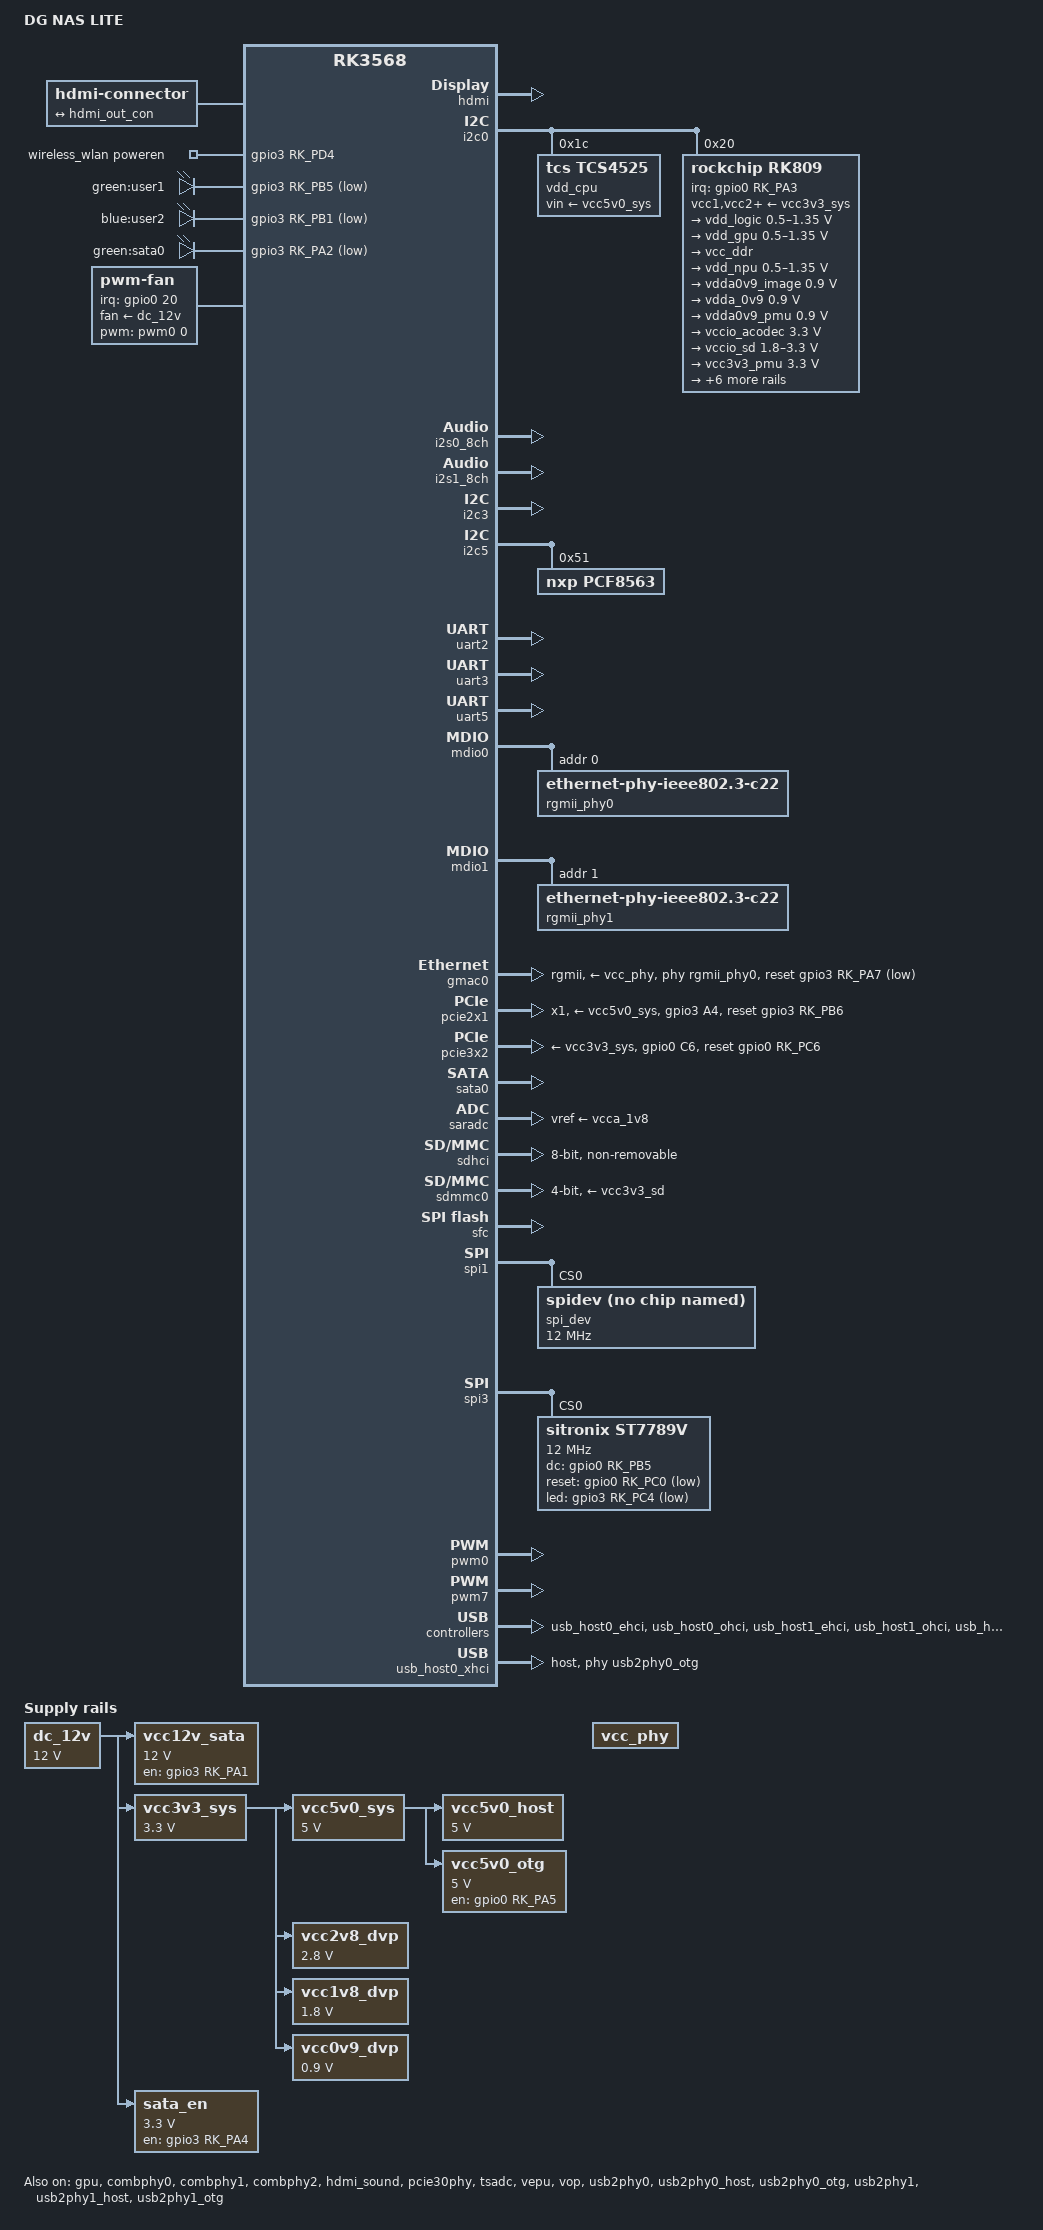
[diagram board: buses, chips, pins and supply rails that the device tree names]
// SPDX-License-Identifier: (GPL-2.0+ OR MIT)
/*
 * Copyright (c) 2020 Rockchip Electronics Co., Ltd.
 *
 */

/dts-v1/;

#include <dt-bindings/gpio/gpio.h>
#include <dt-bindings/leds/common.h>
#include <dt-bindings/pwm/pwm.h>
#include <dt-bindings/input/input.h>
#include <dt-bindings/pinctrl/rockchip.h>
#include <dt-bindings/soc/rockchip,vop2.h>
#include "rk3568.dtsi"

/ {
    	model = "DG NAS LITE";
	compatible = "dg,nas-lite", "rockchip,rk3568";
	bootargs = "earlycon=uart8250,mmio32,0xfe660000 console=ttyFIQ0";

	aliases {
		ethernet0 = &gmac0;
		mmc0 = &sdhci;
		mmc1 = &sdmmc0;
	};

	chosen: chosen {
		stdout-path = "serial2:1500000n8";
	};

	hdmi-con {
		compatible = "hdmi-connector";
		type = "a";

		port {
			hdmi_con_in: endpoint {
				remote-endpoint = <&hdmi_out_con>;
			};
		};
	};

	dc_12v: dc-12v {
		compatible = "regulator-fixed";
		regulator-name = "dc_12v";
		regulator-always-on;
		regulator-boot-on;
		regulator-min-microvolt = <12000000>;
		regulator-max-microvolt = <12000000>;
	};

	vcc12v_sata: vcc12v-sata {
		compatible = "regulator-fixed";
		regulator-name = "vcc12v_sata";
		regulator-always-on;
		regulator-boot-on;
		regulator-min-microvolt = <12000000>;
		regulator-max-microvolt = <12000000>;
		enable-active-high;
		gpio = <&gpio3 RK_PA1 GPIO_ACTIVE_HIGH>;
		pinctrl-names = "default";
		pinctrl-0 = <&vcc12V_sata_enable_h>;
		vin-supply = <&dc_12v>;
	};

	vcc3v3_sys: vcc3v3-sys {
		compatible = "regulator-fixed";
		regulator-name = "vcc3v3_sys";
		regulator-always-on;
		regulator-boot-on;
		regulator-min-microvolt = <3300000>;
		regulator-max-microvolt = <3300000>;
		vin-supply = <&dc_12v>;
	};
	
	sata_en: sata_en {
		compatible = "regulator-fixed";
		regulator-name = "sata_en";
		regulator-always-on;
		regulator-boot-on;
		regulator-min-microvolt = <3300000>;
		regulator-max-microvolt = <3300000>;
		enable-active-high;
		gpio = <&gpio3 RK_PA4 GPIO_ACTIVE_HIGH>;
		pinctrl-names = "default";
		pinctrl-0 = <&asm1064_rst>;
		vin-supply = <&dc_12v>;
	};

	vcc5v0_sys: vcc5v0-sys {
		compatible = "regulator-fixed";
		regulator-name = "vcc5v0_sys";
		regulator-always-on;
		regulator-boot-on;
		regulator-min-microvolt = <5000000>;
		regulator-max-microvolt = <5000000>;
		vin-supply = <&vcc3v3_sys>;
	};

	vcc5v0_host: vcc5v0-host-regulator {
		compatible = "regulator-fixed";
		regulator-name = "vcc5v0_host";
		regulator-boot-on;
		regulator-always-on;
		regulator-min-microvolt = <5000000>;
		regulator-max-microvolt = <5000000>;
//		enable-active-high;
//		gpio = <&gpio0 RK_PD4 GPIO_ACTIVE_HIGH>;
		vin-supply = <&vcc5v0_sys>;
//		pinctrl-names = "default";
//		pinctrl-0 = <&vcc5v0_host_en>;
	};

	vcc5v0_otg: vcc5v0-otg-regulator {
		compatible = "regulator-fixed";
		regulator-name = "vcc5v0_otg";
		regulator-boot-on;
		regulator-always-on;
		regulator-min-microvolt = <5000000>;
		regulator-max-microvolt = <5000000>;
		enable-active-high;
		gpio = <&gpio0 RK_PA5 GPIO_ACTIVE_HIGH>;
		vin-supply = <&vcc5v0_sys>;
		pinctrl-names = "default";
		pinctrl-0 = <&vcc5v0_otg_en>;
	};

	vcc_phy: vcc-phy-regulator {
		compatible = "regulator-fixed";
		regulator-name = "vcc_phy";
		regulator-always-on;
		regulator-boot-on;
	};
	
	vcc2v8_dvp: vcc2v8-sys {
		compatible = "regulator-fixed";
		regulator-name = "vcc2v8_dvp";
		regulator-always-on;
		regulator-boot-on;
		regulator-min-microvolt = <2800000>;
		regulator-max-microvolt = <2800000>;
		vin-supply = <&vcc3v3_sys>;
	};

	vcc1v8_dvp: vcc1v8-dvp {
		compatible = "regulator-fixed";
		regulator-name = "vcc1v8_dvp";
		regulator-always-on;
		regulator-boot-on;
		regulator-min-microvolt = <1800000>;
		regulator-max-microvolt = <1800000>;
		vin-supply = <&vcc3v3_sys>;
	};

	vcc0v9_dvp: vcc0v9-dvp {
		compatible = "regulator-fixed";
		regulator-name = "vcc0v9_dvp";
		regulator-always-on;
		regulator-boot-on;
		regulator-min-microvolt = <900000>;
		regulator-max-microvolt = <900000>;
		vin-supply = <&vcc3v3_sys>;
	};
	

    	wireless_wlan {
        	compatible = "wlan-platdata";    
        	wifi_chip_type = "rtl8723du";
        	rockchip,grf = <&grf>;
        	WIFI,poweren_gpio = <&gpio3 RK_PD4 GPIO_ACTIVE_HIGH>;
        	keep_wifi_power_on;
        	status = "okay";
    	};
	
	wireless_bluetooth: wireless-bluetooth {
		compatible = "bluetooth-platdata";
		clocks = <&rk809 1>;
		clock-names = "ext_clock";
		//wifi-bt-power-toggle;
		status = "okay";
	};	

	leds {
		compatible = "gpio-leds";
		pinctrl-names = "default";
		pinctrl-0 = <&led_user_1>, <&led_user_2>, <&led_sata_0>;

		led-user1 {
			label = "green:user1";
			gpios = <&gpio3 RK_PB5 GPIO_ACTIVE_LOW>;
			linux,default-trigger = "heartbeat";
		};

		led-user2 {
			label = "blue:user2";
			gpios = <&gpio3 RK_PB1 GPIO_ACTIVE_LOW>;
		};

		led-sata0 {
			label = "green:sata0";
			gpios = <&gpio3 RK_PA2 GPIO_ACTIVE_LOW>;
		};
	};

	rk809_sound: rk809-sound {
		status = "okay";
		compatible = "simple-audio-card";
		simple-audio-card,format = "i2s";
		simple-audio-card,name = "rockchip,rk809-codec";
		simple-audio-card,mclk-fs = <256>;

		simple-audio-card,cpu {
			sound-dai = <&i2s1_8ch>;
		};
		simple-audio-card,codec {
			sound-dai = <&rk809_codec>;
		};
	};

	fan: pwm-fan {
		compatible = "pwm-fan";
		pwms = <&pwm0 0 40000 0>;
		fan-supply = <&dc_12v>;
		interrupt-parent = <&gpio0>;
		interrupts = <20 IRQ_TYPE_EDGE_FALLING>;
		pulses-per-revolution = <2>;
		cooling-levels = <0 50 100 150 200 255>;
		rockchip,temp-trips = < 50000   1
					60000   2
					65000   3
					70000   4
					80000   5 >;
	};	
	
};

&cpu0 {
	cpu-supply = <&vdd_cpu>;
};

&cpu1 {
	cpu-supply = <&vdd_cpu>;
};

&cpu2 {
	cpu-supply = <&vdd_cpu>;
};

&cpu3 {
	cpu-supply = <&vdd_cpu>;
};

&gpu {
	mali-supply = <&vdd_gpu>;
	status = "okay";
};

&combphy0 {
	status = "okay";
};

&combphy1 { 
    	status = "okay"; 
};

&combphy2 {
	status = "okay";
};

&hdmi {
	avdd-0v9-supply = <&vdda0v9_image>;
	avdd-1v8-supply = <&vcca1v8_image>;
	status = "okay";
};

&hdmi_in {
	hdmi_in_vp0: endpoint {
		remote-endpoint = <&vp0_out_hdmi>;
	};
};

&hdmi_out {
	hdmi_out_con: endpoint {
		remote-endpoint = <&hdmi_con_in>;
	};
};

&hdmi_sound {
	status = "okay";
};

&i2c0 {
	status = "okay";

	vdd_cpu: regulator@1c {
		compatible = "tcs,tcs4525";
		reg = <0x1c>;
		fcs,suspend-voltage-selector = <1>;
		regulator-name = "vdd_cpu";
		regulator-min-microvolt = <712500>;
		regulator-max-microvolt = <1390000>;
		regulator-ramp-delay = <2300>;
		regulator-always-on;
		regulator-boot-on;
		vin-supply = <&vcc5v0_sys>;

		regulator-state-mem {
			regulator-off-in-suspend;
		};
	};

	rk809: pmic@20 {
		compatible = "rockchip,rk809";
		reg = <0x20>;
		interrupt-parent = <&gpio0>;
		interrupts = <RK_PA3 IRQ_TYPE_LEVEL_LOW>;
		assigned-clocks = <&cru I2S1_MCLKOUT_TX>;
		assigned-clock-parents = <&cru CLK_I2S1_8CH_TX>;
		#clock-cells = <1>;
		clock-names = "mclk";
		clocks = <&cru I2S1_MCLKOUT_TX>;
		pinctrl-names = "default";
		pinctrl-0 = <&pmic_int>;
		system-power-controller;
		#sound-dai-cells = <0>;
		vcc1-supply = <&vcc3v3_sys>;
		vcc2-supply = <&vcc3v3_sys>;
		vcc3-supply = <&vcc3v3_sys>;
		vcc4-supply = <&vcc3v3_sys>;
		vcc5-supply = <&vcc3v3_sys>;
		vcc6-supply = <&vcc3v3_sys>;
		vcc7-supply = <&vcc3v3_sys>;
		vcc8-supply = <&vcc3v3_sys>;
		vcc9-supply = <&vcc3v3_sys>;

		regulators {
			vdd_logic: DCDC_REG1 {
				regulator-always-on;
				regulator-boot-on;
				regulator-min-microvolt = <500000>;
				regulator-max-microvolt = <1350000>;
				regulator-init-microvolt = <900000>;
				regulator-ramp-delay = <6001>;
				regulator-initial-mode = <0x2>;
				regulator-name = "vdd_logic";
				regulator-state-mem {
					regulator-off-in-suspend;
				};
			};

			vdd_gpu: DCDC_REG2 {
				regulator-always-on;
				regulator-boot-on;
				regulator-min-microvolt = <500000>;
				regulator-max-microvolt = <1350000>;
				regulator-init-microvolt = <900000>;
				regulator-ramp-delay = <6001>;
				regulator-initial-mode = <0x2>;
				regulator-name = "vdd_gpu";
				regulator-state-mem {
					regulator-off-in-suspend;
				};
			};

			vcc_ddr: DCDC_REG3 {
				regulator-always-on;
				regulator-boot-on;
				regulator-initial-mode = <0x2>;
				regulator-name = "vcc_ddr";
				regulator-state-mem {
					regulator-on-in-suspend;
				};
			};

			vdd_npu: DCDC_REG4 {
				regulator-always-on;
				regulator-boot-on;
				regulator-min-microvolt = <500000>;
				regulator-max-microvolt = <1350000>;
				regulator-init-microvolt = <900000>;
				regulator-ramp-delay = <6001>;
				regulator-initial-mode = <0x2>;
				regulator-name = "vdd_npu";
				regulator-state-mem {
					regulator-off-in-suspend;
				};
			};

			vdda0v9_image: LDO_REG1 {
				regulator-boot-on;
				regulator-always-on;
				regulator-min-microvolt = <900000>;
				regulator-max-microvolt = <900000>;
				regulator-name = "vdda0v9_image";
				regulator-state-mem {
					regulator-off-in-suspend;
				};
			};

			vdda_0v9: LDO_REG2 {
				regulator-always-on;
				regulator-boot-on;
				regulator-min-microvolt = <900000>;
				regulator-max-microvolt = <900000>;
				regulator-name = "vdda_0v9";
				regulator-state-mem {
					regulator-off-in-suspend;
				};
			};

			vdda0v9_pmu: LDO_REG3 {
				regulator-always-on;
				regulator-boot-on;
				regulator-min-microvolt = <900000>;
				regulator-max-microvolt = <900000>;
				regulator-name = "vdda0v9_pmu";
				regulator-state-mem {
					regulator-on-in-suspend;
					regulator-suspend-microvolt = <900000>;
				};
			};

			vccio_acodec: LDO_REG4 {
				regulator-always-on;
				regulator-boot-on;
				regulator-min-microvolt = <3300000>;
				regulator-max-microvolt = <3300000>;
				regulator-name = "vccio_acodec";
				regulator-state-mem {
					regulator-off-in-suspend;
				};
			};

			vccio_sd: LDO_REG5 {
				regulator-always-on;
				regulator-boot-on;
				regulator-min-microvolt = <1800000>;
				regulator-max-microvolt = <3300000>;
				regulator-name = "vccio_sd";
				regulator-state-mem {
					regulator-off-in-suspend;
				};
			};

			vcc3v3_pmu: LDO_REG6 {
				regulator-always-on;
				regulator-boot-on;
				regulator-min-microvolt = <3300000>;
				regulator-max-microvolt = <3300000>;
				regulator-name = "vcc3v3_pmu";
				regulator-state-mem {
					regulator-on-in-suspend;
					regulator-suspend-microvolt = <3300000>;
				};
			};

			vcca_1v8: LDO_REG7 {
				regulator-always-on;
				regulator-boot-on;
				regulator-min-microvolt = <1800000>;
				regulator-max-microvolt = <1800000>;
				regulator-name = "vcca_1v8";
				regulator-state-mem {
					regulator-off-in-suspend;
				};
			};

			vcca1v8_pmu: LDO_REG8 {
				regulator-always-on;
				regulator-boot-on;
				regulator-min-microvolt = <1800000>;
				regulator-max-microvolt = <1800000>;
				regulator-name = "vcca1v8_pmu";
				regulator-state-mem {
					regulator-on-in-suspend;
					regulator-suspend-microvolt = <1800000>;
				};
			};

			vcca1v8_image: LDO_REG9 {
				regulator-always-on;
				regulator-boot-on;
				regulator-min-microvolt = <1800000>;
				regulator-max-microvolt = <1800000>;
				regulator-name = "vcca1v8_image";
				regulator-state-mem {
					regulator-off-in-suspend;
				};
			};

			vcc_1v8: DCDC_REG5 {
				regulator-always-on;
				regulator-boot-on;
				regulator-min-microvolt = <1800000>;
				regulator-max-microvolt = <1800000>;
				regulator-name = "vcc_1v8";
				regulator-state-mem {
					regulator-off-in-suspend;
				};
			};

			vcc_3v3: SWITCH_REG1 {
				regulator-always-on;
				regulator-boot-on;
				regulator-name = "vcc_3v3";
				regulator-state-mem {
					regulator-off-in-suspend;
				};
			};

			vcc3v3_sd: SWITCH_REG2 {
				regulator-always-on;
				regulator-boot-on;
				regulator-name = "vcc3v3_sd";
				regulator-state-mem {
					regulator-off-in-suspend;
				};
			};
		};

		rk809_codec: codec {
			#sound-dai-cells = <0>;
			mic-in-differential;
		};
	};
};

&i2s0_8ch {
	status = "okay";
};

&i2s1_8ch {
	rockchip,trcm-sync-tx-only;
	status = "okay";
};

&i2c3 {
	status = "okay";
};

&i2c5 {
	status = "okay";

	pcf8563: rtc@51 {
		status = "okay";
		compatible = "nxp,pcf8563";
		reg = <0x51>;
		#clock-cells = <0>;
	};
	
};

&uart2 {
	status = "okay";
};

&uart3 {
	status = "okay";
	pinctrl-names = "default";
	pinctrl-0 = <&uart3m1_xfer>;
};

&uart5 {
	status = "okay";
	pinctrl-names = "default";
	pinctrl-0 = <&uart5m1_xfer>;
};

&mdio0 {
	rgmii_phy0: phy@0 {
		compatible = "ethernet-phy-ieee802.3-c22";
		reg = <0x0>;
	};
};

&mdio1 {
	rgmii_phy1: phy@1 {
		compatible = "ethernet-phy-ieee802.3-c22";
		reg = <0x1>;
	};
};

&gmac0 {
	phy-mode = "rgmii";
	//clock_in_out = "output";
	clock_in_out = "input";
	
	snps,reset-gpio = <&gpio3 RK_PA7 GPIO_ACTIVE_LOW>;
	snps,reset-active-low;
	/* Reset time is 20ms, 100ms for rtl8211f */
	snps,reset-delays-us = <0 20000 100000>;

	assigned-clocks = <&cru SCLK_GMAC0_RX_TX>, <&cru SCLK_GMAC0>;
	assigned-clock-parents = <&cru SCLK_GMAC0_RGMII_SPEED>, <&cru CLK_MAC0_2TOP>;
	assigned-clock-rates = <0>, <125000000>;

	pinctrl-names = "default";
	pinctrl-0 = <&gmac0_miim
		     &gmac0_tx_bus2
		     &gmac0_rx_bus2
		     &gmac0_rgmii_clk
		     &gmac0_rgmii_bus>;

	tx_delay = <0x2e>;
	rx_delay = <0x2a>;

	phy-handle = <&rgmii_phy0>;
	phy-supply = <&vcc_phy>;
	status = "okay";	
};

&gmac1 {
	phy-mode = "rgmii";
	//clock_in_out = "output";
	clock_in_out = "input";

	snps,reset-gpio = <&gpio3 RK_PA6 GPIO_ACTIVE_LOW>;
	snps,reset-active-low;
	
	snps,reset-delays-us = <0 20000 100000>;

	assigned-clocks = <&cru SCLK_GMAC1_RX_TX>, <&cru SCLK_GMAC1>;
	assigned-clock-parents = <&cru SCLK_GMAC1_RGMII_SPEED>, <&cru CLK_MAC1_2TOP>;
	assigned-clock-rates = <0>, <125000000>;
	
	pinctrl-names = "default";
	pinctrl-0 = <&gmac1m1_miim
		     &gmac1m1_tx_bus2
		     &gmac1m1_rx_bus2
		     &gmac1m1_rgmii_clk
		     &gmac1m1_rgmii_bus>;

	tx_delay = <0x3d>;
	rx_delay = <0x23>;

	phy-handle = <&rgmii_phy1>;
	phy-supply = <&vcc_phy>;
	status = "disabled";
};
	
&pcie2x1 {
	num-lanes = <1>;
	num-viewport = <4>;
	pinctrl-0 = <&asm1064_rst>;
	reset-gpios = <&gpio3 RK_PB6 GPIO_ACTIVE_HIGH>;	
	vpcie3v3-supply = <&vcc5v0_sys>;
	status = "okay";
};

&pcie30phy {
	status = "okay";
};

&pcie3x2 {
	pinctrl-names = "default";
	pinctrl-0 = <&pcie_reset_h>;
	reset-gpios = <&gpio0 RK_PC6 GPIO_ACTIVE_HIGH>;
	vpcie3v3-supply = <&vcc3v3_sys>;
	status = "okay";
};

&sata0 {
	status = "okay";
};

&sata1 {
    	status = "disabled";
};

&saradc {
	status = "okay";
	vref-supply = <&vcca_1v8>;
};

&sdhci {
	bus-width = <8>;
	supports-emmc;
	non-removable;
	max-frequency = <200000000>;
	status = "okay";
};

&sdmmc0 {
	max-frequency = <150000000>;
	supports-sd;
	bus-width = <4>;
	cap-mmc-highspeed;
	cap-sd-highspeed;
	disable-wp;
	sd-uhs-sdr104;
	vmmc-supply = <&vcc3v3_sd>;
	vqmmc-supply = <&vccio_sd>;
	pinctrl-names = "default";
	pinctrl-0 = <&sdmmc0_bus4 &sdmmc0_clk &sdmmc0_cmd &sdmmc0_det>;
	status = "okay";
};

&sfc {
	status = "okay";
};

&tsadc {
	status = "okay";
};

&pmu_io_domains {
	pmuio1-supply = <&vcc3v3_pmu>;
	pmuio2-supply = <&vcc3v3_pmu>;
	vccio1-supply = <&vccio_acodec>;
	vccio2-supply = <&vcc_1v8>;
	vccio3-supply = <&vccio_sd>;
	vccio4-supply = <&vcc_1v8>;
	vccio5-supply = <&vcc_3v3>;
	vccio6-supply = <&vcc_1v8>;
	vccio7-supply = <&vcc_3v3>;
	status = "okay";
};

&spi1 {
	status = "okay";
	pinctrl-names = "default";
	pinctrl-0 = <3 RK_PC1 3 &pcfg_pull_none>;
	spi_dev@00 {
		compatible = "rockchip,spidev";
		reg = <0x0>;
		spi-max-frequency = <0xb71b00>;
	};	
};

&spi3 {
	status = "okay";
	pinctrl-names = "default";
	pinctrl-0 = <&spi3m1_cs0 &spi3m1_pins>;
//	pinctrl-1 = <&spi3m1_cs0 &spi3m1_pins_hs>;
	st7789v@0 {
			status = "okay";
            compatible = "sitronix,st7789v";
            reg = <0>;
            spi-max-frequency = <12000000>;           
			bgr;
            fps = <30>;
			rotate = <90>;
            buswidth = <8>; 
			dc-gpios = <&gpio0 RK_PB5 GPIO_ACTIVE_HIGH>;  
            reset-gpios = <&gpio0 RK_PC0 GPIO_ACTIVE_LOW>; 
            led-gpios = <&gpio3 RK_PC4 GPIO_ACTIVE_LOW>;           
            debug = <0>; 
       };
};

&pwm0 {
	status = "okay";
};

&pwm7 {
	status = "okay";
};

&pinctrl {
	pmic {
		pmic_int: pmic_int {
			rockchip,pins =
				<0 RK_PA3 RK_FUNC_GPIO &pcfg_pull_up>;
		};
	};

	usb {
		vcc5v0_otg_en: vcc5v0-otg-en {
			rockchip,pins = <0 RK_PA5 RK_FUNC_GPIO &pcfg_pull_none>;
		};
	};
	
	sata {
		vcc12V_sata_enable_h: vcc12V_sata_enable_h {
			rockchip,pins = <3 RK_PA1 RK_FUNC_GPIO &pcfg_pull_none>;
		};
		asm1064_rst: asm1064_rst {
			rockchip,pins = <3 RK_PA4 RK_FUNC_GPIO &pcfg_pull_none>;
		};
	};

	leds {
		led_user_1: led_user_1 {
			rockchip,pins = <3 RK_PB5 RK_FUNC_GPIO &pcfg_pull_none>;
		};

		led_user_2: led_user_2 {
			rockchip,pins = <3 RK_PB1 RK_FUNC_GPIO &pcfg_pull_none>;
		};

		led_sata_0: led_sata_0 {
			rockchip,pins = <3 RK_PA2 RK_FUNC_GPIO &pcfg_pull_none>;
		};
	};

	spi1 {
		/omit-if-no-ref/
		spi1m1_mosi: spi1m1-mosi {
			rockchip,pins =
				<3 RK_PC1 3 &pcfg_pull_none>;
		};	

	};

	fan-fg {
        	fg_pin: fg-pin {
            		rockchip,pins = <0 RK_PC4 RK_FUNC_GPIO &pcfg_pull_up>;
        	};
	};

	pcie {
		pcie_reset_h: pcie-reset-h {
			rockchip,pins = <0 RK_PC6 RK_FUNC_GPIO &pcfg_pull_none>;
		};
	};	

};

&vepu {
	status = "okay";
};

&vepu_mmu {
	status = "okay";
};

&vp0 {
	vp0_out_hdmi: endpoint@ROCKCHIP_VOP2_EP_HDMI0 {
		reg = <ROCKCHIP_VOP2_EP_HDMI0>;
		remote-endpoint = <&hdmi_in_vp0>;
	};
};

&vop {
	status = "okay";
	assigned-clocks = <&cru DCLK_VOP0>, <&cru DCLK_VOP1>;
	assigned-clock-parents = <&pmucru PLL_HPLL>, <&cru PLL_VPLL>;
};

&vop_mmu {
	status = "okay";
};

&usb2phy0 {
	status = "okay";
};

&usb2phy0_host {
	phy-supply = <&vcc5v0_host>;
	status = "okay";
};

&usb2phy0_otg {
	phy-supply = <&vcc5v0_otg>;
	status = "okay";
};

&usb_host0_ehci {
	status = "okay";
};

&usb_host0_ohci {
	status = "okay";
};

&usb2phy1 {
	status = "okay";
};

&usb2phy1_host {
	status = "okay";
};

&usb2phy1_otg {
	phy-supply = <&vcc5v0_host>;
	status = "okay";
};

&usb_host1_ehci {
	status = "okay";
};

&usb_host1_ohci {
	status = "okay";
};

&usb_host0_xhci {
	phys = <&usb2phy0_otg>;
	phy-names = "usb2-phy";
	extcon = <&usb2phy0>;
	maximum-speed = "high-speed";
	dr_mode = "host";
	status = "okay";
};

&usb_host1_xhci {
	status = "okay";
};

#include "rk3568-vngpu.dtsi"
#include "rk3568-vngpu-rk809.dtsi"
#include "rk3568-ramoops.dtsi"
